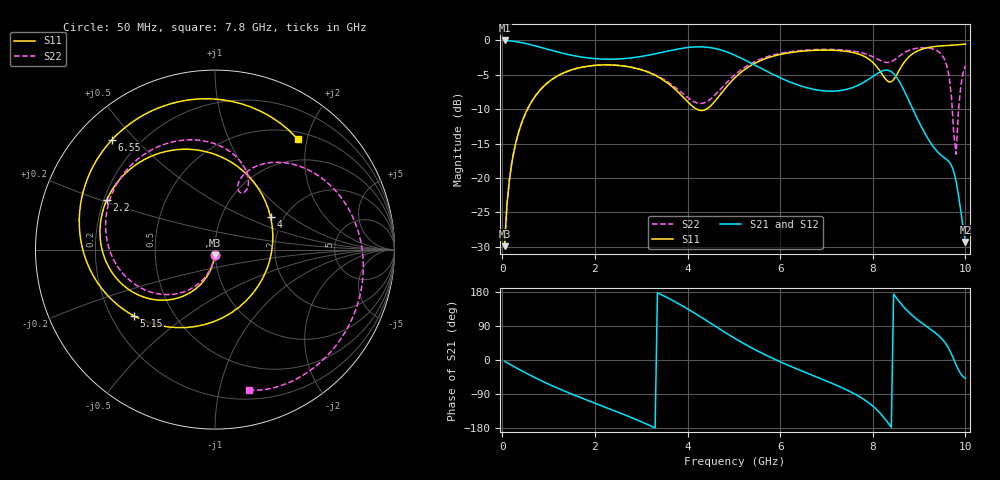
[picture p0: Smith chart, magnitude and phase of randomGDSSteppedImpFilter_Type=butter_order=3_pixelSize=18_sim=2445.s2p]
! freq	dB(S11)	phase(S11)	dB(S12)	phase(S12)
!  dB(S21)	phase(S21)	dB(S22)	phase(S22)
!S-par simulation data
#  GHz  S  DB  R 50
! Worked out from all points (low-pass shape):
!   200 points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, 50 MHz to 10 GHz, reference 50 ohm
!   highest |S21| = -0.01 dB at 50 MHz (marker M1); lowest = -29.3 dB at 10 GHz (marker M2)
!   |S21| within 3 dB of the highest: start of sweep to 5.283 GHz
!   lowest |S11| = -29.9 dB at 50 MHz (marker M3), VSWR 1.07, Z = 49.7 - j3.17 ohm
!   |S11| at or under -10 dB: start of sweep to 544 MHz; 4.196 GHz to 4.407 GHz (211.6 MHz wide, 4.92 % of centre)
!   |S22| runs from -29.9 to -1.1 dB; largest |S21 - S12| = 0
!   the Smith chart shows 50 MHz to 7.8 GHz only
!   S11 on the Smith chart (normalised r, x): 50 MHz: 0.99, -0.06; 2.2 GHz: 0.21, +0.21; 4 GHz: 1.71, +0.71; 5.15 GHz: 0.29, -0.33; 6.55 GHz: 0.10, +0.43; 7.8 GHz: 0.61, +1.84
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0.05  -29.93 -93.4  -0.01 -3.5  -0.01 -3.5  -29.93 -93.9
0.2  -18.03 -103.4  -0.09 -13.9  -0.09 -13.9  -18.04 -105.2
0.5  -10.62 -122.0  -0.44 -33.8  -0.44 -33.8  -10.63 -126.6
1.75  -3.86 175.1  -2.46 -102.1  -2.46 -102.1  -3.87 159.7
2.2  -3.57 155.4  -2.73 -123.4  -2.73 -123.4  -3.57 137.0
3.4  -5.45 91.1  -1.81 174.6  -1.81 174.6  -5.33 79.1
4  -8.91 30.2  -1.04 135.0  -1.04 135.0  -8.30 62.2
4.5  -9.52 -58.9  -1.06 96.8  -1.06 96.8  -8.52 70.2
5.05  -5.26 -131.6  -2.25 54.9  -2.25 54.9  -4.84 57.7
5.15  -4.67 -140.8  -2.56 47.8  -2.56 47.8  -4.31 52.9
5.8  -2.39 172.9  -4.80 6.6  -4.80 6.6  -2.22 18.0
6.55  -1.52 133.1  -6.84 -33.1  -6.84 -33.1  -1.41 -20.5
6.7  -1.46 125.5  -7.08 -40.6  -7.08 -40.6  -1.35 -27.7
7.8  -2.27 53.3  -6.12 -103.3  -6.12 -103.3  -1.87 -76.3
8.1  -3.95 7.4  -4.80 -132.8  -4.80 -132.8  -2.70 -86.2
8.35  -6.05 -70.5  -4.38 -169.3  -4.38 -169.3  -3.20 -87.4
8.55  -4.61 -146.6  -5.72 157.4  -5.72 157.4  -2.41 -88.8
8.75  -2.59 164.9  -8.34 129.3  -8.34 129.3  -1.54 -96.8
9.05  -1.30 124.8  -12.57 98.5  -12.57 98.5  -1.08 -112.9
9.5  -0.79 91.4  -16.85 54.7  -16.85 54.7  -2.17 -146.9
9.8  -0.66 76.3  -20.55 -13.0  -20.55 -13.0  -16.56 -106.2
10  -0.55 67.1  -29.31 -48.2  -29.31 -48.2  -3.66 -99.6
